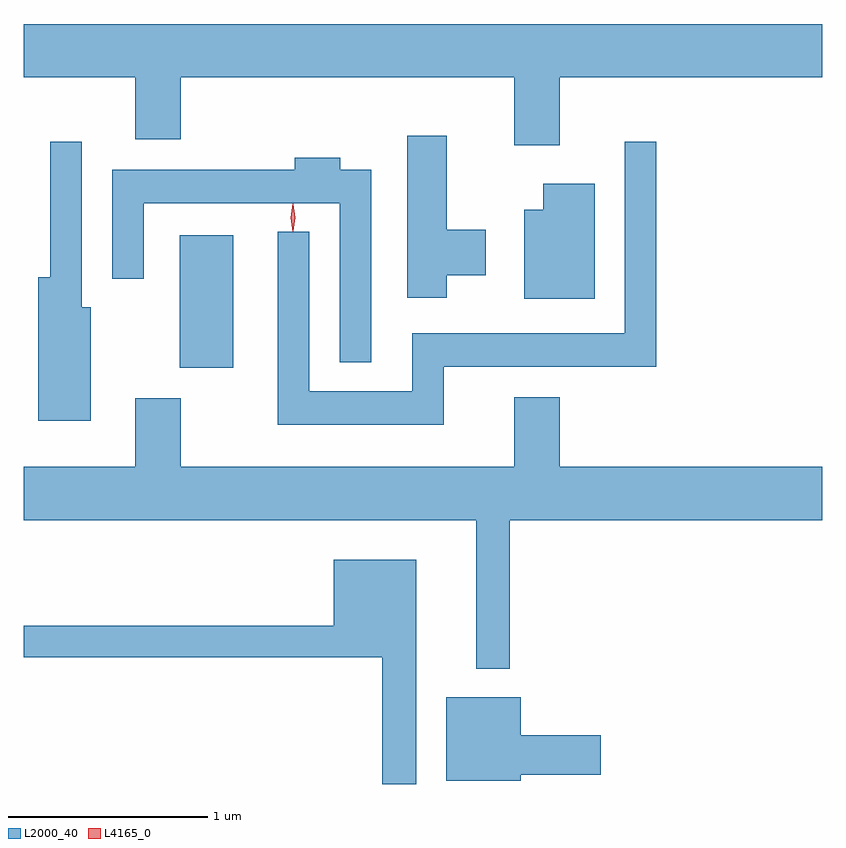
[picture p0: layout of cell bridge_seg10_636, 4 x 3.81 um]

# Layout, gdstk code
import gdstk
lib = gdstk.Library(unit=1e-6, precision=1e-09)
def R(c, l, rs):  # rectangles x0, y0, x1, y1
    for r in rs: c.add(gdstk.rectangle(r[:2], r[2:], *l))
def P(c, l, *ps):  # polygons
    for p in ps: c.add(gdstk.Polygon(p, *l))
L2000_40 = (2000, 40)
L4165_0 = (4165, 0)

bridge_seg10_636 = lib.new_cell('bridge_seg10_636')
R(bridge_seg10_636, L2000_40, [(957.856,2101.361,958.124,2102.024)])
P(bridge_seg10_636, L2000_40, [(959.759,2102.816),(961.074,2102.816),(961.074,2103.084),(957.074,2103.084),(957.074,2102.816),(957.631,2102.816),(957.631,2102.506),(957.859,2102.506),(957.859,2102.816),(959.531,2102.816),(959.531,2102.476),(959.759,2102.476)],
  [(959.194,2101.826),(959.389,2101.826),(959.389,2102.054),(959.194,2102.054),(959.194,2102.524),(958.996,2102.524),(958.996,2101.711),(959.194,2101.711)],
  [(957.409,2101.664),(957.364,2101.664),(957.364,2102.493),(957.206,2102.493),(957.206,2101.814),(957.146,2101.814),(957.146,2101.096),(957.409,2101.096)],
  [(959.179,2101.366),(960.244,2101.366),(960.244,2102.493),(960.086,2102.493),(960.086,2101.534),(959.021,2101.534),(959.021,2101.244),(958.504,2101.244),(958.504,2102.043),(958.346,2102.043),(958.346,2101.076),(959.179,2101.076)],
  [(958.814,2102.354),(958.659,2102.354),(958.659,2102.414),(958.431,2102.414),(958.431,2102.354),(957.516,2102.354),(957.516,2101.808),(957.674,2101.808),(957.674,2102.186),(958.656,2102.186),(958.656,2101.388),(958.814,2101.388)],
  [(959.934,2102.284),(959.676,2102.284),(959.676,2102.154),(959.581,2102.154),(959.581,2101.706),(959.934,2101.706)],
  [(959.509,2100.596),(961.074,2100.596),(961.074,2100.864),(959.759,2100.864),(959.759,2101.214),(959.531,2101.214),(959.531,2100.864),(957.859,2100.864),(957.859,2101.209),(957.631,2101.209),(957.631,2100.864),(957.074,2100.864),(957.074,2100.596),(959.341,2100.596),(959.341,2099.853),(959.509,2099.853)],
  [(959.039,2100.399),(958.626,2100.399),(958.626,2100.069),(957.074,2100.069),(957.074,2099.911),(958.871,2099.911),(958.871,2099.275),(959.039,2099.275)],
  [(959.564,2099.321),(959.964,2099.321),(959.964,2099.519),(959.564,2099.519),(959.564,2099.709),(959.191,2099.709),(959.191,2099.291),(959.564,2099.291)])
P(bridge_seg10_636, L4165_0, [(958.422,2102.044),(958.422,2102.044),(958.412,2102.113),(958.422,2102.182),(958.422,2102.183),(958.423,2102.182),(958.432,2102.113),(958.423,2102.044)],
  [(958.424,2102.047),(958.423,2102.048),(958.414,2102.114),(958.423,2102.18),(958.424,2102.181),(958.424,2102.18),(958.434,2102.114),(958.424,2102.048)])

lib.write_gds('bridge_seg10_636.gds')
